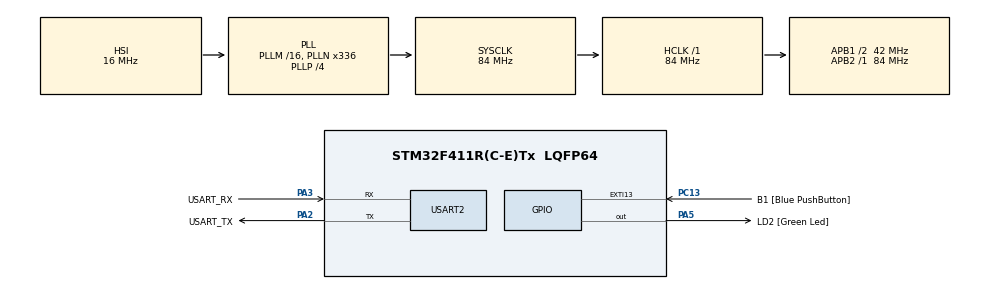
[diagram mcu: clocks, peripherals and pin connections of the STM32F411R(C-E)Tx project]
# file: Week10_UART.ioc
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Mcu.Family=STM32F4
Mcu.Name=STM32F411R(C-E)Tx
Mcu.Package=LQFP64
NVIC.PriorityGroup=NVIC_PRIORITYGROUP_0
NVIC.USART2_IRQn=true\:0\:0\:false\:false\:true\:true\:true
PA13.GPIO_Label=TMS
PA13.Mode=Serial_Wire
PA13.Signal=SYS_JTMS-SWDIO
PA14.GPIO_Label=TCK
PA14.Mode=Serial_Wire
PA14.Signal=SYS_JTCK-SWCLK
PA2.GPIO_Label=USART_TX
PA2.Mode=Asynchronous
PA2.Signal=USART2_TX
PA3.GPIO_Label=USART_RX
PA3.Mode=Asynchronous
PA3.Signal=USART2_RX
PA5.GPIO_Label=LD2 [Green Led]
PA5.Signal=GPIO_Output
PB3.GPIO_Label=SWO
PB3.Signal=SYS_JTDO-SWO
PC13-ANTI_TAMP.GPIO_Label=B1 [Blue PushButton]
PC13-ANTI_TAMP.GPIO_ModeDefaultEXTI=GPIO_MODE_IT_FALLING
PC13-ANTI_TAMP.Signal=GPXTI13
PC14-OSC32_IN.Mode=LSE-External-Oscillator
PC14-OSC32_IN.Signal=RCC_OSC32_IN
PC15-OSC32_OUT.Mode=LSE-External-Oscillator
PC15-OSC32_OUT.Signal=RCC_OSC32_OUT
PH0\ -\ OSC_IN.Mode=HSE-External-Clock-Source
PH0\ -\ OSC_IN.Signal=RCC_OSC_IN
PH1\ -\ OSC_OUT.Mode=HSE-External-Clock-Source
PH1\ -\ OSC_OUT.Signal=RCC_OSC_OUT
ProjectManager.HeapSize=0x200
ProjectManager.StackSize=0x400
ProjectManager.TargetToolchain=STM32CubeIDE
RCC.48MHZClocksFreq_Value=84000000
RCC.AHBFreq_Value=84000000
RCC.APB1CLKDivider=RCC_HCLK_DIV2
RCC.APB1Freq_Value=42000000
RCC.APB1TimFreq_Value=84000000
RCC.APB2Freq_Value=84000000
RCC.APB2TimFreq_Value=84000000
RCC.CortexFreq_Value=84000000
RCC.FLatency-AdvancedSettings=FLASH_LATENCY_2
RCC.HCLKFreq_Value=84000000
RCC.HSE_VALUE=8000000
RCC.HSI_VALUE=16000000
RCC.PLLN=336
RCC.PLLP=RCC_PLLP_DIV4
RCC.SYSCLKFreq_VALUE=84000000
RCC.SYSCLKSource=RCC_SYSCLKSOURCE_PLLCLK
RCC.VCOOutputFreq_Value=336000000
USART2.VirtualMode=VM_ASYNC
board=NUCLEO-F411RE

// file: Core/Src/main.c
/* USER CODE BEGIN Header */
/**
 ******************************************************************************
 * @file           : main.c
 * @brief          : Main program body
 ******************************************************************************
 * @attention
 *
 * <h2><center>&copy; Copyright (c) 2021 STMicroelectronics.
 * All rights reserved.</center></h2>
 *
 * This software component is licensed by ST under BSD 3-Clause license,
 * the "License"; You may not use this file except in compliance with the
 * License. You may obtain a copy of the License at:
 *                        opensource.org/licenses/BSD-3-Clause
 *
 ******************************************************************************
 */
/* USER CODE END Header */
#include "main.h"

/* USER CODE BEGIN Includes */
#include <stdio.h>
#include <string.h>
/* USER CODE END Includes */

UART_HandleTypeDef huart2;

/* USER CODE BEGIN PV */
char TxDataBuffer[32] =
{ 0 };
char RxDataBuffer[32] =
{ 0 };
/* USER CODE END PV */

void SystemClock_Config(void);
static void MX_GPIO_Init(void);
static void MX_USART2_UART_Init(void);
/* USER CODE BEGIN PFP */
void UARTRecieveAndResponsePolling();
int16_t UARTRecieveIT();
/* USER CODE END PFP */

int main(void)
{

  /* MCU Configuration--------------------------------------------------------*/

  /* Reset of all peripherals, Initializes the Flash interface and the Systick. */
  HAL_Init();

  /* Configure the system clock */
  SystemClock_Config();

  /* Initialize all configured peripherals */
  MX_GPIO_Init();
  MX_USART2_UART_Init();
  /* USER CODE BEGIN 2 */
  {
  char temp[]="HELLO WORLD\r\n please type something to test UART\r\n";
  HAL_UART_Transmit(&huart2, (uint8_t*)temp, strlen(temp),10);
  }
  /* USER CODE END 2 */

  /* Infinite loop */
  /* USER CODE BEGIN WHILE */
	while (1)
	{
		/*Method 1 Polling Mode*/

//		UARTRecieveAndResponsePolling();

		/*Method 2 Interrupt Mode*/
		HAL_UART_Receive_IT(&huart2,  (uint8_t*)RxDataBuffer, 32);

		/*Method 2 W/ 1 Char Received*/
		int16_t inputchar = UARTRecieveIT();
		if(inputchar!=-1)
		{

			sprintf(TxDataBuffer, "ReceivedChar:[%c]\r\n", inputchar);
			HAL_UART_Transmit(&huart2, (uint8_t*)TxDataBuffer, strlen(TxDataBuffer), 1000);
		}

		/*This section just simmulate Work Load*/
		HAL_Delay(100); //ใส่เพื่อ
		HAL_GPIO_TogglePin(LD2_GPIO_Port, LD2_Pin);
    /* USER CODE END WHILE */

	}
}

void SystemClock_Config(void)
{
  RCC_OscInitTypeDef RCC_OscInitStruct = {0};
  RCC_ClkInitTypeDef RCC_ClkInitStruct = {0};

  /** Configure the main internal regulator output voltage
  */
  __HAL_RCC_PWR_CLK_ENABLE();
  __HAL_PWR_VOLTAGESCALING_CONFIG(PWR_REGULATOR_VOLTAGE_SCALE1);
  /** Initializes the RCC Oscillators according to the specified parameters
  * in the RCC_OscInitTypeDef structure.
  */
  RCC_OscInitStruct.OscillatorType = RCC_OSCILLATORTYPE_HSI;
  RCC_OscInitStruct.HSIState = RCC_HSI_ON;
  RCC_OscInitStruct.HSICalibrationValue = RCC_HSICALIBRATION_DEFAULT;
  RCC_OscInitStruct.PLL.PLLState = RCC_PLL_ON;
  RCC_OscInitStruct.PLL.PLLSource = RCC_PLLSOURCE_HSI;
  RCC_OscInitStruct.PLL.PLLM = 16;
  RCC_OscInitStruct.PLL.PLLN = 336;
  RCC_OscInitStruct.PLL.PLLP = RCC_PLLP_DIV4;
  RCC_OscInitStruct.PLL.PLLQ = 4;
  if (HAL_RCC_OscConfig(&RCC_OscInitStruct) != HAL_OK)
  {
    Error_Handler();
  }
  /** Initializes the CPU, AHB and APB buses clocks
  */
  RCC_ClkInitStruct.ClockType = RCC_CLOCKTYPE_HCLK|RCC_CLOCKTYPE_SYSCLK
                              |RCC_CLOCKTYPE_PCLK1|RCC_CLOCKTYPE_PCLK2;
  RCC_ClkInitStruct.SYSCLKSource = RCC_SYSCLKSOURCE_PLLCLK;
  RCC_ClkInitStruct.AHBCLKDivider = RCC_SYSCLK_DIV1;
  RCC_ClkInitStruct.APB1CLKDivider = RCC_HCLK_DIV2;
  RCC_ClkInitStruct.APB2CLKDivider = RCC_HCLK_DIV1;

  if (HAL_RCC_ClockConfig(&RCC_ClkInitStruct, FLASH_LATENCY_2) != HAL_OK)
  {
    Error_Handler();
  }
}

static void MX_USART2_UART_Init(void)
{

  huart2.Instance = USART2;
  huart2.Init.BaudRate = 115200;
  huart2.Init.WordLength = UART_WORDLENGTH_8B;
  huart2.Init.StopBits = UART_STOPBITS_1;
  huart2.Init.Parity = UART_PARITY_NONE;
  huart2.Init.Mode = UART_MODE_TX_RX;
  huart2.Init.HwFlowCtl = UART_HWCONTROL_NONE;
  huart2.Init.OverSampling = UART_OVERSAMPLING_16;
  if (HAL_UART_Init(&huart2) != HAL_OK)
  {
    Error_Handler();
  }

}

static void MX_GPIO_Init(void)
{
  GPIO_InitTypeDef GPIO_InitStruct = {0};

  /* GPIO Ports Clock Enable */
  __HAL_RCC_GPIOC_CLK_ENABLE();
  __HAL_RCC_GPIOH_CLK_ENABLE();
  __HAL_RCC_GPIOA_CLK_ENABLE();
  __HAL_RCC_GPIOB_CLK_ENABLE();

  /*Configure GPIO pin Output Level */
  HAL_GPIO_WritePin(LD2_GPIO_Port, LD2_Pin, GPIO_PIN_RESET);

  /*Configure GPIO pin : B1_Pin */
  GPIO_InitStruct.Pin = B1_Pin;
  GPIO_InitStruct.Mode = GPIO_MODE_IT_FALLING;
  GPIO_InitStruct.Pull = GPIO_NOPULL;
  HAL_GPIO_Init(B1_GPIO_Port, &GPIO_InitStruct);

  /*Configure GPIO pin : LD2_Pin */
  GPIO_InitStruct.Pin = LD2_Pin;
  GPIO_InitStruct.Mode = GPIO_MODE_OUTPUT_PP;
  GPIO_InitStruct.Pull = GPIO_NOPULL;
  GPIO_InitStruct.Speed = GPIO_SPEED_FREQ_LOW;
  HAL_GPIO_Init(LD2_GPIO_Port, &GPIO_InitStruct);

}

/* USER CODE BEGIN 4 */
void UARTRecieveAndResponsePolling()
{
	char Recieve[32]={0};
	//start recive in polling Mode
	HAL_UART_Receive(&huart2, (uint8_t*)Recieve, 32, 1000);
	//Create Feedback Text
	sprintf(TxDataBuffer, "Received:[%s]\r\n", Recieve);
	//send text
	HAL_UART_Transmit(&huart2, (uint8_t*)TxDataBuffer, strlen(TxDataBuffer), 1000);

}

int16_t UARTRecieveIT()
{
	//store data last positoin
	static uint32_t dataPos =0;
	//create dummy data
	int16_t data=-1;
	//check pos in buffer vs last position
	if(huart2.RxXferSize - huart2.RxXferCount!=dataPos)
	{
		//read data form buffer
		data=RxDataBuffer[dataPos];
		//move to next Pos
		dataPos= (dataPos+1)%huart2.RxXferSize;
	}
	return data;
}

void HAL_UART_RxCpltCallback(UART_HandleTypeDef *huart)
{
	sprintf(TxDataBuffer, "Received:[%s]\r\n", RxDataBuffer);
	HAL_UART_Transmit(&huart2, (uint8_t*)TxDataBuffer, strlen(TxDataBuffer), 1000);
}
/* USER CODE END 4 */

void Error_Handler(void)
{
	__disable_irq();
	while (1)
	{
	}
}

/************************ (C) COPYRIGHT STMicroelectronics *****END OF FILE****/
